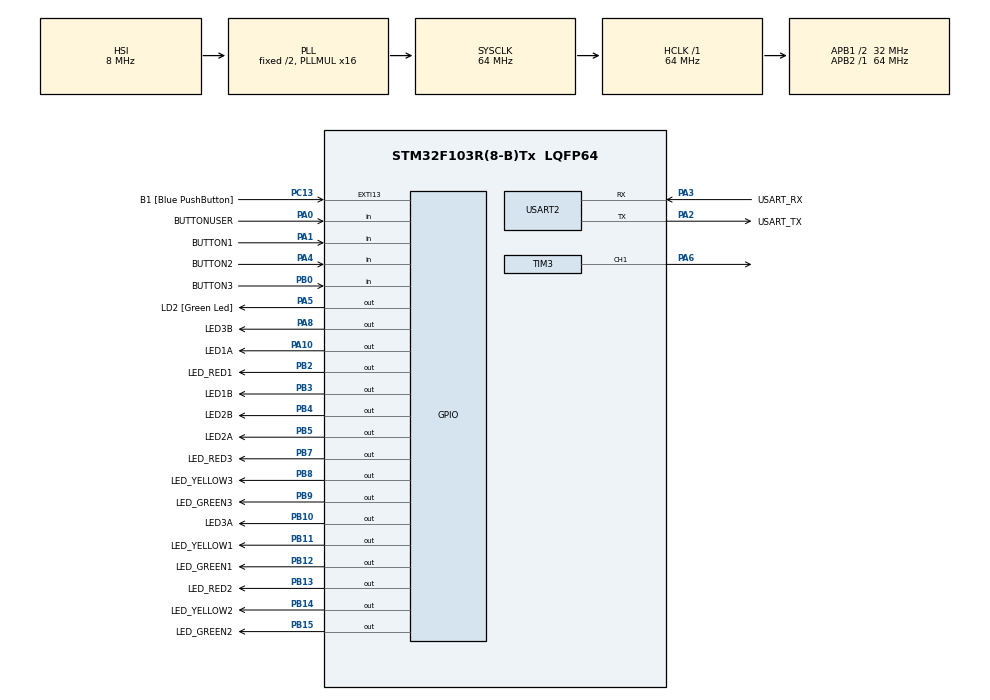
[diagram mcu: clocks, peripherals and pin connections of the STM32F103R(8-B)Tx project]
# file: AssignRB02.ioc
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Mcu.Family=STM32F1
Mcu.Name=STM32F103R(8-B)Tx
Mcu.Package=LQFP64
NVIC.EXTI15_10_IRQn=true\:0\:0\:false\:false\:true\:true\:true\:true
NVIC.PriorityGroup=NVIC_PRIORITYGROUP_4
NVIC.TIM2_IRQn=true\:0\:0\:false\:false\:true\:true\:true\:true
NVIC.TIM3_IRQn=true\:0\:0\:false\:false\:true\:true\:true\:true
NVIC.USART2_IRQn=true\:0\:0\:false\:false\:true\:true\:true\:true
PA0-WKUP.GPIO_Label=BUTTONUSER
PA0-WKUP.GPIO_PuPd=GPIO_PULLUP
PA0-WKUP.Signal=GPIO_Input
PA1.GPIO_Label=BUTTON1
PA1.GPIO_PuPd=GPIO_PULLUP
PA1.Signal=GPIO_Input
PA10.GPIO_Label=LED1A
PA10.Signal=GPIO_Output
PA13.GPIO_Label=TMS
PA13.Mode=Serial_Wire
PA13.Signal=SYS_JTMS-SWDIO
PA14.GPIO_Label=TCK
PA14.Mode=Serial_Wire
PA14.Signal=SYS_JTCK-SWCLK
PA2.GPIO_Label=USART_TX
PA2.GPIO_Mode=GPIO_MODE_AF_PP
PA2.GPIO_PuPd=GPIO_NOPULL
PA2.GPIO_Speed=GPIO_SPEED_FREQ_LOW
PA2.Mode=Asynchronous
PA2.Signal=USART2_TX
PA3.GPIO_Label=USART_RX
PA3.GPIO_Mode=GPIO_MODE_AF_PP
PA3.GPIO_PuPd=GPIO_NOPULL
PA3.GPIO_Speed=GPIO_SPEED_FREQ_LOW
PA3.Mode=Asynchronous
PA3.Signal=USART2_RX
PA4.GPIO_Label=BUTTON2
PA4.GPIO_PuPd=GPIO_PULLUP
PA4.Signal=GPIO_Input
PA5.GPIO_Label=LD2 [Green Led]
PA5.GPIO_ModeDefaultOutputPP=GPIO_MODE_OUTPUT_PP
PA5.GPIO_PuPd=GPIO_NOPULL
PA5.GPIO_Speed=GPIO_SPEED_FREQ_LOW
PA5.Signal=GPIO_Output
PA6.Signal=S_TIM3_CH1
PA8.GPIO_Label=LED3B
PA8.Signal=GPIO_Output
PB0.GPIO_Label=BUTTON3
PB0.GPIO_PuPd=GPIO_PULLUP
PB0.Signal=GPIO_Input
PB10.GPIO_Label=LED3A
PB10.Signal=GPIO_Output
PB11.GPIO_Label=LED_YELLOW1
PB11.Signal=GPIO_Output
PB12.GPIO_Label=LED_GREEN1
PB12.Signal=GPIO_Output
PB13.GPIO_Label=LED_RED2
PB13.Signal=GPIO_Output
PB14.GPIO_Label=LED_YELLOW2
PB14.Signal=GPIO_Output
PB15.GPIO_Label=LED_GREEN2
PB15.Signal=GPIO_Output
PB2.GPIO_Label=LED_RED1
PB2.Signal=GPIO_Output
PB3.GPIO_Label=LED1B
PB3.Signal=GPIO_Output
PB4.GPIO_Label=LED2B
PB4.Signal=GPIO_Output
PB5.GPIO_Label=LED2A
PB5.Signal=GPIO_Output
PB7.GPIO_Label=LED_RED3
PB7.Signal=GPIO_Output
PB8.GPIO_Label=LED_YELLOW3
PB8.Signal=GPIO_Output
PB9.GPIO_Label=LED_GREEN3
PB9.Signal=GPIO_Output
PC13-TAMPER-RTC.GPIO_Label=B1 [Blue PushButton]
PC13-TAMPER-RTC.GPIO_PuPd=GPIO_PULLUP
PC13-TAMPER-RTC.Signal=GPXTI13
PC14-OSC32_IN.Mode=LSE-External-Oscillator
PC14-OSC32_IN.Signal=RCC_OSC32_IN
PC15-OSC32_OUT.Mode=LSE-External-Oscillator
PC15-OSC32_OUT.Signal=RCC_OSC32_OUT
PD0-OSC_IN.Mode=HSE-External-Clock-Source
PD0-OSC_IN.Signal=RCC_OSC_IN
PD1-OSC_OUT.Mode=HSE-External-Clock-Source
PD1-OSC_OUT.Signal=RCC_OSC_OUT
ProjectManager.HeapSize=0x200
ProjectManager.StackSize=0x400
ProjectManager.TargetToolchain=STM32CubeIDE
RCC.AHBFreq_Value=64000000
RCC.APB1CLKDivider=RCC_HCLK_DIV2
RCC.APB1Freq_Value=32000000
RCC.APB1TimFreq_Value=64000000
RCC.APB2Freq_Value=64000000
RCC.APB2TimFreq_Value=64000000
RCC.HCLKFreq_Value=64000000
RCC.PLLMUL=RCC_PLL_MUL16
RCC.RTCClockSelection=RCC_RTCCLKSOURCE_LSE
RCC.SYSCLKFreq_VALUE=64000000
RCC.SYSCLKSource=RCC_SYSCLKSOURCE_PLLCLK
RCC.USBFreq_Value=64000000
SH.S_TIM3_CH1.0=TIM3_CH1,PWM Generation1 CH1
TIM2.Period=79
TIM2.Prescaler=7999
TIM3.Channel-PWM\ Generation1\ CH1=TIM_CHANNEL_1
TIM3.Period=999
TIM3.Prescaler=63
USART2.VirtualMode=VM_ASYNC
VP_TIM2_VS_ClockSourceINT.Mode=Internal
VP_TIM3_VS_ClockSourceINT.Mode=Internal
board=NUCLEO-F103RB

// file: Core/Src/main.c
/* USER CODE BEGIN Header */
/**
  ******************************************************************************
  * @file           : main.c
  * @brief          : Main program body
  ******************************************************************************
  * @attention
  *
  * Copyright (c) 2022 STMicroelectronics.
  * All rights reserved.
  *
  * This software is licensed under terms that can be found in the LICENSE file
  * in the root directory of this software component.
  * If no LICENSE file comes with this software, it is provided AS-IS.
  *
  ******************************************************************************
  */
/* USER CODE END Header */
//#include "main.h"

/* USER CODE BEGIN Includes */
#include "fsm_manual.h"
#include "traffic_timer.h"
#include "stdio.h"
#include "buzzer.h"
/* USER CODE END Includes */

TIM_HandleTypeDef htim2;
TIM_HandleTypeDef htim3;

//UART_HandleTypeDef huart2;

void SystemClock_Config(void);
static void MX_GPIO_Init(void);
static void MX_USART2_UART_Init(void);
static void MX_TIM2_Init(void);
static void MX_TIM3_Init(void);

int main(void)
{

  /* MCU Configuration--------------------------------------------------------*/

  /* Reset of all peripherals, Initializes the Flash interface and the Systick. */
  HAL_Init();

  /* Configure the system clock */
  SystemClock_Config();

  /* Initialize all configured peripherals */
  MX_GPIO_Init();
  MX_USART2_UART_Init();
  MX_TIM2_Init();
  MX_TIM3_Init();
  /* USER CODE BEGIN 2 */
  HAL_TIM_Base_Start_IT (&htim2) ;
  HAL_TIM_PWM_Start(&htim3, TIM_CHANNEL_1);
  /* USER CODE END 2 */

  /* Infinite loop */
  /* USER CODE BEGIN WHILE */

  //Set up for Pedestrian
  int userButton = 0;
  LED3_OFF();

  //Set up for start
  setTimer1(250);
  int one_sec= 3;

  while (1)
  {
    /* USER CODE END WHILE */

    /* USER CODE BEGIN 3 */

	  //All about FSM
	  fsm_manual_run();		//manual fsm
	  light_control_1();	//fsm for traffic light 1
	  light_control_2();	//fsm for traffic light 2

	  if (isButton4Pressed()){		// Pedestrian pressed
		  userButton = 1;
		  setTimer5(20000);
	  }
	  if (timer5_flag == 1){		// Time out
		  userButton = 0;
		  LED3_OFF();
	  }

	  if (timer1_flag == 1){		// One duration blinky 250ms
		  setTimer1(250);

		  one_sec++;				// Count down, print to terminal
		  if (one_sec == 4){
			  one_sec = 0;
			  int time = timer3_counter/100;
			  char str[100];
			  HAL_UART_Transmit(&huart2,(uint8_t*) str, sprintf(str, "!7SEG: %d#\r\n",time), 1000);
		  }

	  		  //Cum den 1
		  if (RED1_flag){
			  RED1_TOGGLE();
		  }
		  else if(YELLOW1_flag){
			  YELLOW1_TOGGLE();
		  }
		  else if(GREEN1_flag){
	  		  GREEN1_TOGGLE();
	  	  }

	  		  //Cum den 2
		  if(RED2_flag){
	  		  RED2_TOGGLE();
	  		  //__HAL_TIM_SetCompare (&htim3,TIM_CHANNEL_1,0);
	  		  //toggle = -1;
	 		  if (userButton) {
	 			 act_buzzer =0;
	 			  RED3_TOGGLE();
	 			  __HAL_TIM_SetCompare (&htim3,TIM_CHANNEL_1,-100);
	 		  }
		  }
		  else if(YELLOW2_flag){
			  YELLOW2_TOGGLE();
			  if (userButton) {
				  YELLOW3_TOGGLE();
				  // int feq = 100 - 100*(10*timer3_counter/timer_yellow);
				  // __HAL_TIM_SET_AUTORELOAD(&htim3,feq*5/2);
				  // __HAL_TIM_SetCompare (&htim3,TIM_CHANNEL_1,feq);
				  //toggle =1-toggle;
				  // HAL_Delay(100);
				  act_buzzer =1 ;
			  }
			  else {
				  act_buzzer =0;
				  __HAL_TIM_SetCompare (&htim3,TIM_CHANNEL_1,0);
			  }
		  }
	  	  else if(GREEN2_flag){
	  		  GREEN2_TOGGLE();
	  		  if (userButton) GREEN3_TOGGLE();
	  	  }
	  }
  }
  /* USER CODE END 3 */
}

void SystemClock_Config(void)
{
  RCC_OscInitTypeDef RCC_OscInitStruct = {0};
  RCC_ClkInitTypeDef RCC_ClkInitStruct = {0};

  /** Initializes the RCC Oscillators according to the specified parameters
  * in the RCC_OscInitTypeDef structure.
  */
  RCC_OscInitStruct.OscillatorType = RCC_OSCILLATORTYPE_HSI;
  RCC_OscInitStruct.HSIState = RCC_HSI_ON;
  RCC_OscInitStruct.HSICalibrationValue = RCC_HSICALIBRATION_DEFAULT;
  RCC_OscInitStruct.PLL.PLLState = RCC_PLL_ON;
  RCC_OscInitStruct.PLL.PLLSource = RCC_PLLSOURCE_HSI_DIV2;
  RCC_OscInitStruct.PLL.PLLMUL = RCC_PLL_MUL16;
  if (HAL_RCC_OscConfig(&RCC_OscInitStruct) != HAL_OK)
  {
    Error_Handler();
  }

  /** Initializes the CPU, AHB and APB buses clocks
  */
  RCC_ClkInitStruct.ClockType = RCC_CLOCKTYPE_HCLK|RCC_CLOCKTYPE_SYSCLK
                              |RCC_CLOCKTYPE_PCLK1|RCC_CLOCKTYPE_PCLK2;
  RCC_ClkInitStruct.SYSCLKSource = RCC_SYSCLKSOURCE_PLLCLK;
  RCC_ClkInitStruct.AHBCLKDivider = RCC_SYSCLK_DIV1;
  RCC_ClkInitStruct.APB1CLKDivider = RCC_HCLK_DIV2;
  RCC_ClkInitStruct.APB2CLKDivider = RCC_HCLK_DIV1;

  if (HAL_RCC_ClockConfig(&RCC_ClkInitStruct, FLASH_LATENCY_2) != HAL_OK)
  {
    Error_Handler();
  }
}

static void MX_TIM2_Init(void)
{

  TIM_ClockConfigTypeDef sClockSourceConfig = {0};
  TIM_MasterConfigTypeDef sMasterConfig = {0};

  htim2.Instance = TIM2;
  htim2.Init.Prescaler = 7999;
  htim2.Init.CounterMode = TIM_COUNTERMODE_UP;
  htim2.Init.Period = 79;
  htim2.Init.ClockDivision = TIM_CLOCKDIVISION_DIV1;
  htim2.Init.AutoReloadPreload = TIM_AUTORELOAD_PRELOAD_DISABLE;
  if (HAL_TIM_Base_Init(&htim2) != HAL_OK)
  {
    Error_Handler();
  }
  sClockSourceConfig.ClockSource = TIM_CLOCKSOURCE_INTERNAL;
  if (HAL_TIM_ConfigClockSource(&htim2, &sClockSourceConfig) != HAL_OK)
  {
    Error_Handler();
  }
  sMasterConfig.MasterOutputTrigger = TIM_TRGO_RESET;
  sMasterConfig.MasterSlaveMode = TIM_MASTERSLAVEMODE_DISABLE;
  if (HAL_TIMEx_MasterConfigSynchronization(&htim2, &sMasterConfig) != HAL_OK)
  {
    Error_Handler();
  }

}

static void MX_TIM3_Init(void)
{

  TIM_ClockConfigTypeDef sClockSourceConfig = {0};
  TIM_MasterConfigTypeDef sMasterConfig = {0};
  TIM_OC_InitTypeDef sConfigOC = {0};

  htim3.Instance = TIM3;
  htim3.Init.Prescaler = 63;
  htim3.Init.CounterMode = TIM_COUNTERMODE_UP;
  htim3.Init.Period = 999;
  htim3.Init.ClockDivision = TIM_CLOCKDIVISION_DIV1;
  htim3.Init.AutoReloadPreload = TIM_AUTORELOAD_PRELOAD_DISABLE;
  if (HAL_TIM_Base_Init(&htim3) != HAL_OK)
  {
    Error_Handler();
  }
  sClockSourceConfig.ClockSource = TIM_CLOCKSOURCE_INTERNAL;
  if (HAL_TIM_ConfigClockSource(&htim3, &sClockSourceConfig) != HAL_OK)
  {
    Error_Handler();
  }
  if (HAL_TIM_PWM_Init(&htim3) != HAL_OK)
  {
    Error_Handler();
  }
  sMasterConfig.MasterOutputTrigger = TIM_TRGO_RESET;
  sMasterConfig.MasterSlaveMode = TIM_MASTERSLAVEMODE_DISABLE;
  if (HAL_TIMEx_MasterConfigSynchronization(&htim3, &sMasterConfig) != HAL_OK)
  {
    Error_Handler();
  }
  sConfigOC.OCMode = TIM_OCMODE_PWM1;
  sConfigOC.Pulse = 0;
  sConfigOC.OCPolarity = TIM_OCPOLARITY_HIGH;
  sConfigOC.OCFastMode = TIM_OCFAST_DISABLE;
  if (HAL_TIM_PWM_ConfigChannel(&htim3, &sConfigOC, TIM_CHANNEL_1) != HAL_OK)
  {
    Error_Handler();
  }
  HAL_TIM_MspPostInit(&htim3);

}

static void MX_USART2_UART_Init(void)
{

  huart2.Instance = USART2;
  huart2.Init.BaudRate = 115200;
  huart2.Init.WordLength = UART_WORDLENGTH_8B;
  huart2.Init.StopBits = UART_STOPBITS_1;
  huart2.Init.Parity = UART_PARITY_NONE;
  huart2.Init.Mode = UART_MODE_TX_RX;
  huart2.Init.HwFlowCtl = UART_HWCONTROL_NONE;
  huart2.Init.OverSampling = UART_OVERSAMPLING_16;
  if (HAL_UART_Init(&huart2) != HAL_OK)
  {
    Error_Handler();
  }

}

static void MX_GPIO_Init(void)
{
  GPIO_InitTypeDef GPIO_InitStruct = {0};

  /* GPIO Ports Clock Enable */
  __HAL_RCC_GPIOC_CLK_ENABLE();
  __HAL_RCC_GPIOD_CLK_ENABLE();
  __HAL_RCC_GPIOA_CLK_ENABLE();
  __HAL_RCC_GPIOB_CLK_ENABLE();

  /*Configure GPIO pin Output Level */
  HAL_GPIO_WritePin(GPIOA, LD2_Pin|LED3B_Pin|LED1A_Pin, GPIO_PIN_RESET);

  /*Configure GPIO pin Output Level */
  HAL_GPIO_WritePin(GPIOB, LED_RED1_Pin|LED3A_Pin|LED_YELLOW1_Pin|LED_GREEN1_Pin
                          |LED_RED2_Pin|LED_YELLOW2_Pin|LED_GREEN2_Pin|LED1B_Pin
                          |LED2B_Pin|LED2A_Pin|LED_RED3_Pin|LED_YELLOW3_Pin
                          |LED_GREEN3_Pin, GPIO_PIN_RESET);

  /*Configure GPIO pin : B1_Pin */
  GPIO_InitStruct.Pin = B1_Pin;
  GPIO_InitStruct.Mode = GPIO_MODE_IT_RISING;
  GPIO_InitStruct.Pull = GPIO_PULLUP;
  HAL_GPIO_Init(B1_GPIO_Port, &GPIO_InitStruct);

  /*Configure GPIO pins : BUTTONUSER_Pin BUTTON1_Pin BUTTON2_Pin */
  GPIO_InitStruct.Pin = BUTTONUSER_Pin|BUTTON1_Pin|BUTTON2_Pin;
  GPIO_InitStruct.Mode = GPIO_MODE_INPUT;
  GPIO_InitStruct.Pull = GPIO_PULLUP;
  HAL_GPIO_Init(GPIOA, &GPIO_InitStruct);

  /*Configure GPIO pins : LD2_Pin LED3B_Pin LED1A_Pin */
  GPIO_InitStruct.Pin = LD2_Pin|LED3B_Pin|LED1A_Pin;
  GPIO_InitStruct.Mode = GPIO_MODE_OUTPUT_PP;
  GPIO_InitStruct.Pull = GPIO_NOPULL;
  GPIO_InitStruct.Speed = GPIO_SPEED_FREQ_LOW;
  HAL_GPIO_Init(GPIOA, &GPIO_InitStruct);

  /*Configure GPIO pin : BUTTON3_Pin */
  GPIO_InitStruct.Pin = BUTTON3_Pin;
  GPIO_InitStruct.Mode = GPIO_MODE_INPUT;
  GPIO_InitStruct.Pull = GPIO_PULLUP;
  HAL_GPIO_Init(BUTTON3_GPIO_Port, &GPIO_InitStruct);

  /*Configure GPIO pins : LED_RED1_Pin LED3A_Pin LED_YELLOW1_Pin LED_GREEN1_Pin
                           LED_RED2_Pin LED_YELLOW2_Pin LED_GREEN2_Pin LED1B_Pin
                           LED2B_Pin LED2A_Pin LED_RED3_Pin LED_YELLOW3_Pin
                           LED_GREEN3_Pin */
  GPIO_InitStruct.Pin = LED_RED1_Pin|LED3A_Pin|LED_YELLOW1_Pin|LED_GREEN1_Pin
                          |LED_RED2_Pin|LED_YELLOW2_Pin|LED_GREEN2_Pin|LED1B_Pin
                          |LED2B_Pin|LED2A_Pin|LED_RED3_Pin|LED_YELLOW3_Pin
                          |LED_GREEN3_Pin;
  GPIO_InitStruct.Mode = GPIO_MODE_OUTPUT_PP;
  GPIO_InitStruct.Pull = GPIO_NOPULL;
  GPIO_InitStruct.Speed = GPIO_SPEED_FREQ_LOW;
  HAL_GPIO_Init(GPIOB, &GPIO_InitStruct);

  /* EXTI interrupt init*/
  HAL_NVIC_SetPriority(EXTI15_10_IRQn, 0, 0);
  HAL_NVIC_EnableIRQ(EXTI15_10_IRQn);

}

/* USER CODE BEGIN 4 */
void HAL_TIM_PeriodElapsedCallback(TIM_HandleTypeDef *htim){
	timerRun();
	getKeyInput1();
	getKeyInput2();
	getKeyInput3();
	getKeyInput4();
	buzzer();
}
/* USER CODE END 4 */

void Error_Handler(void)
{
  __disable_irq();
  while (1)
  {
  }
}
